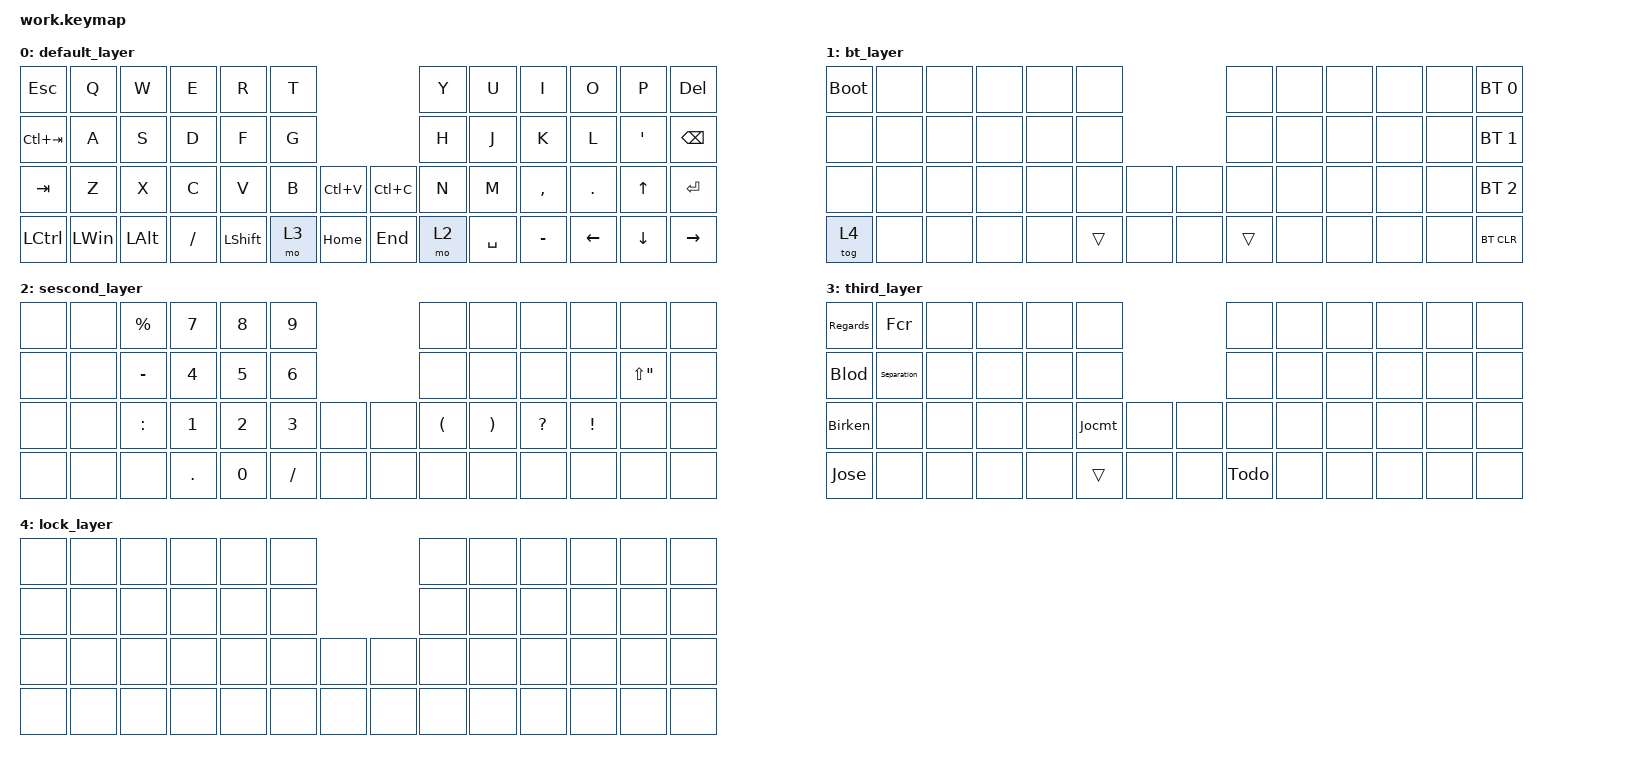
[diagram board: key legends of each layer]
#include <behaviors.dtsi>
#include <dt-bindings/zmk/bt.h>
#include <dt-bindings/zmk/keys.h>

/ {
    combos {
        compatible = "zmk,combos";

        lock {
            bindings = <&mo 1>;
            key-positions = <43 46>;
        };

        Back {
            bindings = <&kp LC(Z)>;
            key-positions = <31 30>;
            layers = <0>;
        };

        Enter {
            bindings = <&kp ENTER>;
            key-positions = <30 44>;
            layers = <0>;
        };

        Del {
            bindings = <&kp DEL>;
            key-positions = <31 45>;
            layers = <0>;
        };
    };

    macros {
        Todo: Todo {
            compatible = "zmk,behavior-macro";
            #binding-cells = <0>;
            bindings = <&kp LS(T) &kp O &kp MINUS &kp LS(D) &kp O &kp S>;
            label = "TODO";
        };

        Jocmt: Jocmt {
            compatible = "zmk,behavior-macro";
            #binding-cells = <0>;
            bindings = <&kp J &kp O &kp ENTER>;
            label = "JOCMT";
        };

        Separation: Separation {
            compatible = "zmk,behavior-macro";
            #binding-cells = <0>;
            bindings = <&kp MINUS &kp MINUS &kp MINUS &kp MINUS &kp MINUS &kp MINUS &kp MINUS &kp MINUS &kp MINUS &kp MINUS &kp MINUS &kp MINUS>;
            label = "SEPARATION";
        };

        Jose: Jose {
            compatible = "zmk,behavior-macro";
            #binding-cells = <0>;
            bindings = <&kp LS(J) &kp O &kp S &kp E>;
            label = "JOSE";
        };

        Birken: Hiriendo {
            compatible = "zmk,behavior-macro";
            #binding-cells = <0>;
            bindings = <&kp LS(B) &kp I &kp R &kp K &kp E &kp N>;
            label = "HIRIENDO";
        };

        Fcr: Fcr {
            compatible = "zmk,behavior-macro";
            #binding-cells = <0>;
            bindings = <&kp MINUS &kp MINUS &kp MINUS &kp MINUS &kp MINUS &kp MINUS &kp MINUS &kp MINUS &kp MINUS &kp MINUS &kp MINUS &kp MINUS &kp ENTER &kp LS(F) &kp LS(C) &kp LS(R) &kp ENTER &kp MINUS &kp MINUS &kp MINUS &kp MINUS &kp MINUS &kp MINUS &kp MINUS &kp MINUS &kp MINUS &kp MINUS &kp MINUS &kp MINUS>;
            label = "FCR";
        };

        Regards: Regards {
            compatible = "zmk,behavior-macro";
            #binding-cells = <0>;
            bindings = <&kp LS(R) &kp E &kp G &kp A &kp R &kp D &kp S &kp ENTER &kp LS(J) &kp O &kp S &kp E>;
            label = "REGARDS";
        };

        Blod: Blod {
            compatible = "zmk,behavior-macro";
            #binding-cells = <0>;
            bindings = <&kp ASTERISK &kp ASTERISK>;
            label = "BLOD";
        };
    };

    keymap {
        compatible = "zmk,keymap";

        default_layer {
            bindings = <
&kp ESC      &kp Q         &kp W         &kp E     &kp R      &kp T                        &kp Y  &kp U      &kp I      &kp O     &kp P     &kp DEL
&kp LC(TAB)  &kp A         &kp S         &kp D     &kp F      &kp G                        &kp H  &kp J      &kp K      &kp L     &kp SQT   &kp BSPC
&kp TAB      &kp Z         &kp X         &kp C     &kp V      &kp B  &kp LC(V)  &kp LC(C)  &kp N  &kp M      &kp COMMA  &kp DOT   &kp UP    &kp ENTER
&kp LCTRL    &kp LEFT_WIN  &kp LEFT_ALT  &kp FSLH  &kp LSHFT  &mo 3  &kp HOME   &kp END    &mo 2  &kp SPACE  &kp MINUS  &kp LEFT  &kp DOWN  &kp RIGHT
            >;
        };

        bt_layer {
            bindings = <
&bootloader  &none  &none  &none  &none  &none                 &none   &none  &none  &none  &none  &bt BT_SEL 0
&none        &none  &none  &none  &none  &none                 &none   &none  &none  &none  &none  &bt BT_SEL 1
&none        &none  &none  &none  &none  &none   &none  &none  &none   &none  &none  &none  &none  &bt BT_SEL 2
&tog 4       &none  &none  &none  &none  &trans  &none  &none  &trans  &none  &none  &none  &none  &bt BT_CLR
            >;
        };

        sescond_layer {
            bindings = <
&none  &none  &kp PERCENT  &kp N7   &kp N8  &kp N9                  &none                 &none                  &none         &none            &none                  &none
&none  &none  &kp MINUS    &kp N4   &kp N5  &kp N6                  &none                 &none                  &none         &none            &kp LS(DOUBLE_QUOTES)  &none
&none  &none  &kp COLON    &kp N1   &kp N2  &kp N3    &none  &none  &kp LEFT_PARENTHESIS  &kp RIGHT_PARENTHESIS  &kp QUESTION  &kp EXCLAMATION  &none                  &none
&none  &none  &none        &kp DOT  &kp N0  &kp FSLH  &none  &none  &none                 &none                  &none         &none            &none                  &none
            >;
        };

        third_layer {
            bindings = <
&Regards  &Fcr         &none  &none  &none  &none                 &none  &none  &none  &none  &none  &none
&Blod     &Separation  &none  &none  &none  &none                 &none  &none  &none  &none  &none  &none
&Birken   &none        &none  &none  &none  &Jocmt  &none  &none  &none  &none  &none  &none  &none  &none
&Jose     &none        &none  &none  &none  &trans  &none  &none  &Todo  &none  &none  &none  &none  &none
            >;
        };

        lock_layer {
            bindings = <
&none  &none  &none  &none  &none  &none                &none  &none  &none  &none  &none  &none
&none  &none  &none  &none  &none  &none                &none  &none  &none  &none  &none  &none
&none  &none  &none  &none  &none  &none  &none  &none  &none  &none  &none  &none  &none  &none
&none  &none  &none  &none  &none  &none  &none  &none  &none  &none  &none  &none  &none  &none
            >;
        };
    };
};
